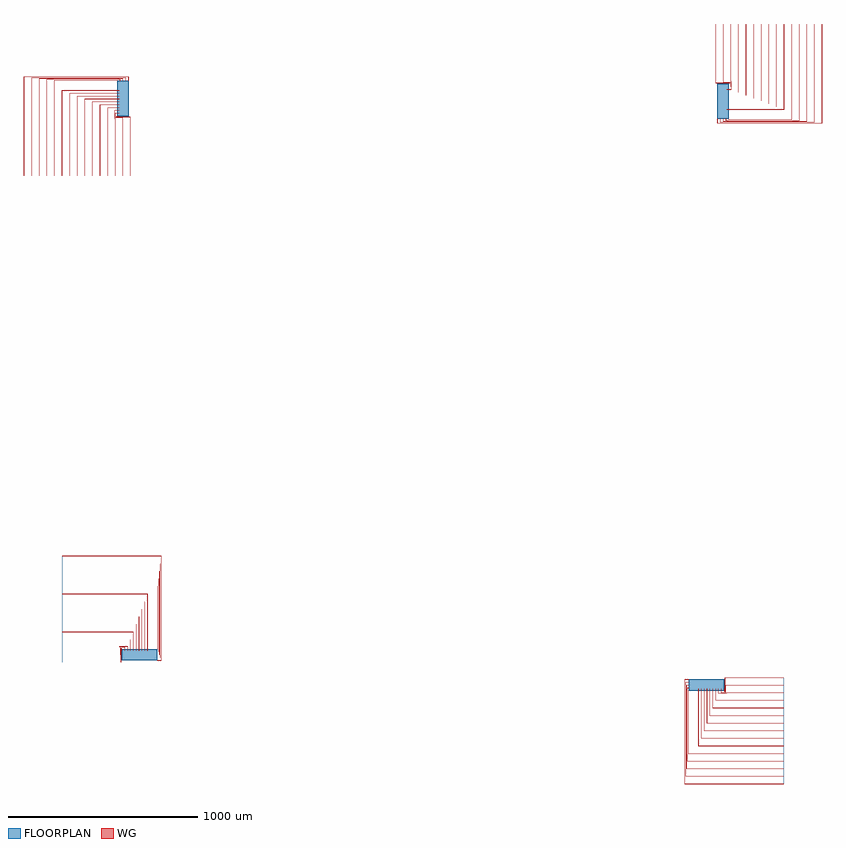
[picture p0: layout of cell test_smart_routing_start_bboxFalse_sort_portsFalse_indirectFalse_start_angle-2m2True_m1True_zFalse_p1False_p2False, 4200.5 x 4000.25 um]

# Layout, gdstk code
import gdstk
lib = gdstk.Library(unit=1e-6, precision=1e-09)
def R(c, l, rs):  # rectangles x0, y0, x1, y1
    for r in rs: c.add(gdstk.rectangle(r[:2], r[2:], *l))
def P(c, l, *ps):  # polygons
    for p in ps: c.add(gdstk.Polygon(p, *l))
WG = (1, 0)
FLOORPLAN = (10, 0)

test_smart_routing_start = lib.new_cell('test_smart_routing_start_bboxFalse_sort_portsFalse_indirectFalse_start_angle-2m2True_m1True_zFalse_p1False_p2False')
P(test_smart_routing_start, WG, [(100,49.75),(100,50.25),(122,50.25),(122,599.75),(-400,599.75),(-400,600.25),(122.5,600.25),(122.5,49.75)],
  [(100,64.75),(100,65.25),(117.5,65.25),(117.5,559.75),(-400,559.75),(-400,560.25),(118,560.25),(118,64.75)],
  [(100,79.75),(100,80.25),(113,80.25),(113,519.75),(-400,519.75),(-400,520.25),(113.5,520.25),(113.5,79.75)],
  [(100,94.75),(100,95.25),(108.5,95.25),(108.5,479.75),(-400,479.75),(-400,480.25),(109,480.25),(109,94.75)],
  [(100,109.75),(100,110.25),(104,110.25),(104,439.75),(-400,439.75),(-400,440.25),(104.5,440.25),(104.5,109.75)],
  [(49.75,100),(49.75,399.75),(-400,399.75),(-400,400.25),(50.25,400.25),(50.25,100)],
  [(34.75,100),(34.75,359.75),(-400,359.75),(-400,360.25),(35.25,360.25),(35.25,100)],
  [(19.75,100),(19.75,319.75),(-400,319.75),(-400,320.25),(20.25,320.25),(20.25,100)],
  [(4.75,100),(4.75,279.75),(-400,279.75),(-400,280.25),(5.25,280.25),(5.25,100)],
  [(-10.25,100),(-10.25,239.75),(-400,239.75),(-400,240.25),(-9.75,240.25),(-9.75,100)],
  [(-25.25,100),(-25.25,199.75),(-400,199.75),(-400,200.25),(-24.75,200.25),(-24.75,100)],
  [(-40.25,100),(-40.25,159.75),(-400,159.75),(-400,160.25),(-39.75,160.25),(-39.75,100)],
  [(-55.25,100),(-55.25,123.25),(-98.25,123.25),(-98.25,119.75),(-400,119.75),(-400,120.25),(-98.75,120.25),(-98.75,123.75),(-54.75,123.75),(-54.75,100)],
  [(-400,79.75),(-400,80.25),(-94.25,80.25),(-94.25,119.25),(-69.75,119.25),(-69.75,100),(-70.25,100),(-70.25,118.75),(-93.75,118.75),(-93.75,79.75)],
  [(-400,39.75),(-400,40.25),(-89.75,40.25),(-89.75,114.75),(-84.75,114.75),(-84.75,100),(-85.25,100),(-85.25,114.25),(-89.25,114.25),(-89.25,39.75)],
  [(-600.25,2600),(-600.25,3122.5),(-49.75,3122.5),(-49.75,3100),(-50.25,3100),(-50.25,3122),(-599.75,3122),(-599.75,2600)],
  [(-560.25,2600),(-560.25,3118),(-64.75,3118),(-64.75,3100),(-65.25,3100),(-65.25,3117.5),(-559.75,3117.5),(-559.75,2600)],
  [(-520.25,2600),(-520.25,3113.5),(-79.75,3113.5),(-79.75,3100),(-80.25,3100),(-80.25,3113),(-519.75,3113),(-519.75,2600)],
  [(-480.25,2600),(-480.25,3109),(-94.75,3109),(-94.75,3100),(-95.25,3100),(-95.25,3108.5),(-479.75,3108.5),(-479.75,2600)],
  [(-440.25,2600),(-440.25,3104.5),(-109.75,3104.5),(-109.75,3100),(-110.25,3100),(-110.25,3104),(-439.75,3104),(-439.75,2600)],
  [(-400.25,2600),(-400.25,3050.25),(-100,3050.25),(-100,3049.75),(-399.75,3049.75),(-399.75,2600)],
  [(-360.25,2600),(-360.25,3035.25),(-100,3035.25),(-100,3034.75),(-359.75,3034.75),(-359.75,2600)],
  [(-320.25,2600),(-320.25,3020.25),(-100,3020.25),(-100,3019.75),(-319.75,3019.75),(-319.75,2600)],
  [(-280.25,2600),(-280.25,3005.25),(-100,3005.25),(-100,3004.75),(-279.75,3004.75),(-279.75,2600)],
  [(-240.25,2600),(-240.25,2990.25),(-100,2990.25),(-100,2989.75),(-239.75,2989.75),(-239.75,2600)],
  [(-200.25,2600),(-200.25,2975.25),(-100,2975.25),(-100,2974.75),(-199.75,2974.75),(-199.75,2600)],
  [(-160.25,2600),(-160.25,2960.25),(-100,2960.25),(-100,2959.75),(-159.75,2959.75),(-159.75,2600)],
  [(-120.25,2600),(-120.25,2901.25),(-123.75,2901.25),(-123.75,2945.25),(-100,2945.25),(-100,2944.75),(-123.25,2944.75),(-123.25,2901.75),(-119.75,2901.75),(-119.75,2600)],
  [(-80.25,2600),(-80.25,2905.75),(-119.25,2905.75),(-119.25,2930.25),(-100,2930.25),(-100,2929.75),(-118.75,2929.75),(-118.75,2906.25),(-79.75,2906.25),(-79.75,2600)],
  [(-40.25,2600),(-40.25,2910.25),(-114.75,2910.25),(-114.75,2915.25),(-100,2915.25),(-100,2914.75),(-114.25,2914.75),(-114.25,2910.75),(-39.75,2910.75),(-39.75,2600)],
  [(2877.5,-600.25),(2877.5,-49.75),(2900,-49.75),(2900,-50.25),(2878,-50.25),(2878,-599.75),(3400,-599.75),(3400,-600.25)],
  [(2882,-560.25),(2882,-64.75),(2900,-64.75),(2900,-65.25),(2882.5,-65.25),(2882.5,-559.75),(3400,-559.75),(3400,-560.25)],
  [(2886.5,-520.25),(2886.5,-79.75),(2900,-79.75),(2900,-80.25),(2887,-80.25),(2887,-519.75),(3400,-519.75),(3400,-520.25)],
  [(2891,-480.25),(2891,-94.75),(2900,-94.75),(2900,-95.25),(2891.5,-95.25),(2891.5,-479.75),(3400,-479.75),(3400,-480.25)],
  [(2895.5,-440.25),(2895.5,-109.75),(2900,-109.75),(2900,-110.25),(2896,-110.25),(2896,-439.75),(3400,-439.75),(3400,-440.25)],
  [(2949.75,-400.25),(2949.75,-100),(2950.25,-100),(2950.25,-399.75),(3400,-399.75),(3400,-400.25)],
  [(2964.75,-360.25),(2964.75,-100),(2965.25,-100),(2965.25,-359.75),(3400,-359.75),(3400,-360.25)],
  [(2979.75,-320.25),(2979.75,-100),(2980.25,-100),(2980.25,-319.75),(3400,-319.75),(3400,-320.25)],
  [(2994.75,-280.25),(2994.75,-100),(2995.25,-100),(2995.25,-279.75),(3400,-279.75),(3400,-280.25)],
  [(3009.75,-240.25),(3009.75,-100),(3010.25,-100),(3010.25,-239.75),(3400,-239.75),(3400,-240.25)],
  [(3024.75,-200.25),(3024.75,-100),(3025.25,-100),(3025.25,-199.75),(3400,-199.75),(3400,-200.25)],
  [(3039.75,-160.25),(3039.75,-100),(3040.25,-100),(3040.25,-159.75),(3400,-159.75),(3400,-160.25)],
  [(3054.75,-123.75),(3054.75,-100),(3055.25,-100),(3055.25,-123.25),(3098.25,-123.25),(3098.25,-119.75),(3400,-119.75),(3400,-120.25),(3098.75,-120.25),(3098.75,-123.75)],
  [(3069.75,-119.25),(3069.75,-100),(3070.25,-100),(3070.25,-118.75),(3093.75,-118.75),(3093.75,-79.75),(3400,-79.75),(3400,-80.25),(3094.25,-80.25),(3094.25,-119.25)],
  [(3084.75,-114.75),(3084.75,-100),(3085.25,-100),(3085.25,-114.25),(3089.25,-114.25),(3089.25,-39.75),(3400,-39.75),(3400,-40.25),(3089.75,-40.25),(3089.75,-114.75)],
  [(3049.75,2877.5),(3049.75,2900),(3050.25,2900),(3050.25,2878),(3599.75,2878),(3599.75,3400),(3600.25,3400),(3600.25,2877.5)],
  [(3064.75,2882),(3064.75,2900),(3065.25,2900),(3065.25,2882.5),(3559.75,2882.5),(3559.75,3400),(3560.25,3400),(3560.25,2882)],
  [(3079.75,2886.5),(3079.75,2900),(3080.25,2900),(3080.25,2887),(3519.75,2887),(3519.75,3400),(3520.25,3400),(3520.25,2886.5)],
  [(3094.75,2891),(3094.75,2900),(3095.25,2900),(3095.25,2891.5),(3479.75,2891.5),(3479.75,3400),(3480.25,3400),(3480.25,2891)],
  [(3109.75,2895.5),(3109.75,2900),(3110.25,2900),(3110.25,2896),(3439.75,2896),(3439.75,3400),(3440.25,3400),(3440.25,2895.5)],
  [(3100,2949.75),(3100,2950.25),(3399.75,2950.25),(3399.75,3400),(3400.25,3400),(3400.25,2949.75)],
  [(3100,2964.75),(3100,2965.25),(3359.75,2965.25),(3359.75,3400),(3360.25,3400),(3360.25,2964.75)],
  [(3100,2979.75),(3100,2980.25),(3319.75,2980.25),(3319.75,3400),(3320.25,3400),(3320.25,2979.75)],
  [(3100,2994.75),(3100,2995.25),(3279.75,2995.25),(3279.75,3400),(3280.25,3400),(3280.25,2994.75)],
  [(3100,3009.75),(3100,3010.25),(3239.75,3010.25),(3239.75,3400),(3240.25,3400),(3240.25,3009.75)],
  [(3100,3024.75),(3100,3025.25),(3199.75,3025.25),(3199.75,3400),(3200.25,3400),(3200.25,3024.75)],
  [(3100,3039.75),(3100,3040.25),(3159.75,3040.25),(3159.75,3400),(3160.25,3400),(3160.25,3039.75)],
  [(3100,3054.75),(3100,3055.25),(3123.25,3055.25),(3123.25,3098.25),(3119.75,3098.25),(3119.75,3400),(3120.25,3400),(3120.25,3098.75),(3123.75,3098.75),(3123.75,3054.75)],
  [(3100,3069.75),(3100,3070.25),(3118.75,3070.25),(3118.75,3093.75),(3079.75,3093.75),(3079.75,3400),(3080.25,3400),(3080.25,3094.25),(3119.25,3094.25),(3119.25,3069.75)],
  [(3100,3084.75),(3100,3085.25),(3114.25,3085.25),(3114.25,3089.25),(3039.75,3089.25),(3039.75,3400),(3040.25,3400),(3040.25,3089.75),(3114.75,3089.75),(3114.75,3084.75)])
R(test_smart_routing_start, FLOORPLAN, [(2900,-110,3085,-50), (-85,50,100,110), (3050,2900,3110,3085), (-110,2915,-50,3100)])
P(test_smart_routing_start, FLOORPLAN, [(-400,40),(-400,600),(-400,600),(-400,40)],
  [(-600,2600),(-600,2600),(-40,2600),(-40,2600)],
  [(3400,-600),(3400,-40),(3400,-40),(3400,-600)],
  [(3040,3400),(3040,3400),(3600,3400),(3600,3400)])

lib.write_gds('test_smart_routing_start_bboxFalse_sort_portsFalse_indirectFalse_start_angle-2m2True_m1True_zFalse_p1False_p2False.gds')
